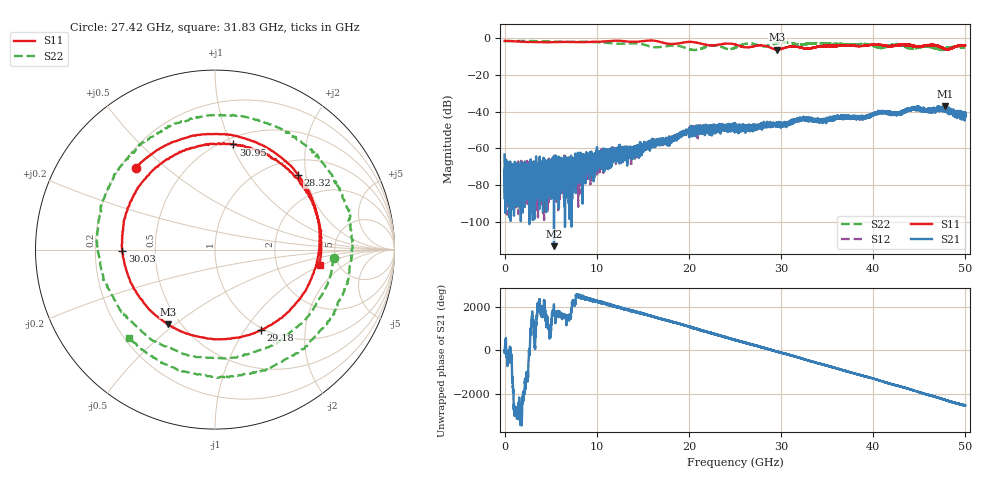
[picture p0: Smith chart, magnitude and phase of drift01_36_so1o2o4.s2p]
!Created with skrf (http://scikit-rf.org).
# Hz S RI R 50.0
!freq ReS11 ImS11 ReS21 ImS21 ReS12 ImS12 ReS22 ImS22
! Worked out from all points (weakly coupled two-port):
!   10001 points, 300 kHz to 50 GHz, reference 50 ohm
!   highest |S21| = -36.93 dB at 47.78 GHz (marker M1); lowest = -113.3 dB at 5.36 GHz (marker M2)
!   lowest |S11| = -6.2 dB at 29.61 GHz (marker M3), VSWR 2.93, Z = 21.6 - j23.7 ohm
!   |S11| at or under -10 dB: nowhere
!   |S22| runs from -6.4 to -1.4 dB; largest |S21 - S12| = 0.0047
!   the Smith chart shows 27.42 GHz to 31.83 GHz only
!   S11 on the Smith chart (normalised r, x): 27.42 GHz: 0.26, +0.40; 28.32 GHz: 1.32, +1.80; 29.18 GHz: 0.97, -1.19; 30.03 GHz: 0.32, -0.01; 30.95 GHz: 0.56, +1.02; 31.83 GHz: 3.63, -0.95
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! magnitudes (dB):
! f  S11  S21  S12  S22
! 300 kHz  -1.3  -63.2  -63.1  -2.1
! 315.3 MHz  -1.3  -75.5  -79.0  -1.4
! 4.73 GHz  -2.1  -71.7  -73.9  -1.6
! 5.36 GHz  -2.0  -113.3  -71.6  -1.7
! 7.195 GHz  -1.9  -74.1  -77.1  -1.9
! 8.335 GHz  -2.0  -67.3  -70.1  -1.8
! 16.67 GHz  -1.6  -56.2  -56.7  -4.8
! 20.09 GHz  -1.9  -51.6  -50.3  -6.0
! 22.62 GHz  -3.8  -47.6  -49.4  -3.8
! 25 GHz  -3.3  -49.8  -49.7  -5.1
! 27.42 GHz  -3.9  -48.4  -47.6  -3.6
! 28.32 GHz  -4.1  -47.9  -47.7  -4.3
! 29.18 GHz  -5.7  -46.3  -46.8  -3.1
! 29.61 GHz  -6.2  -45.8  -47.5  -2.5
! 30.03 GHz  -5.7  -47.2  -46.9  -2.2
! 30.95 GHz  -4.5  -46.9  -45.6  -2.5
! 31.83 GHz  -4.6  -44.2  -44.2  -3.3
! 33.34 GHz  -5.3  -44.3  -44.1  -2.7
! 41.67 GHz  -4.4  -40.1  -40.7  -4.4
! 46.43 GHz  -3.6  -38.6  -39.5  -4.4
! 47.78 GHz  -5.7  -36.9  -38.2  -5.7
! 50 GHz  -3.9  -41.8  -40.0  -5.3
